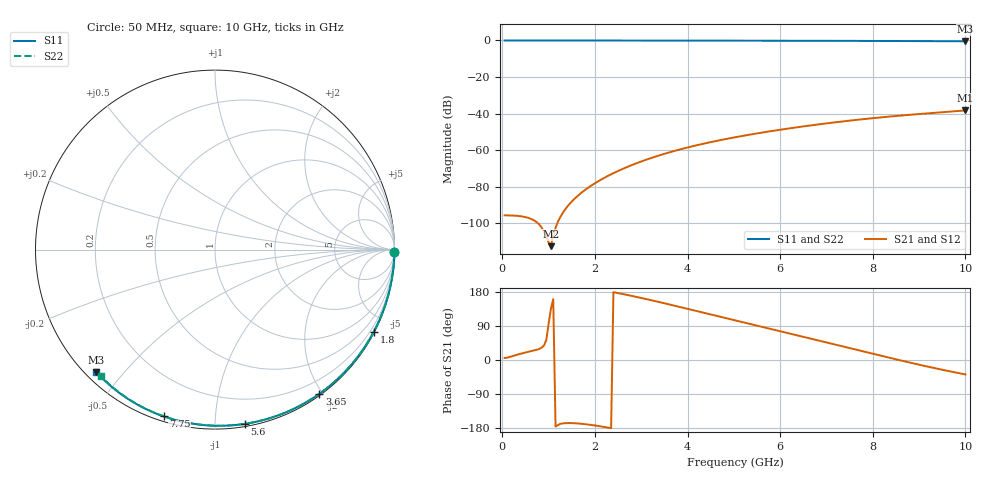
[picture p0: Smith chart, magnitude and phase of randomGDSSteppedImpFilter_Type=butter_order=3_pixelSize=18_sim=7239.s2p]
! freq	dB(S11)	phase(S11)	dB(S12)	phase(S12)
!  dB(S21)	phase(S21)	dB(S22)	phase(S22)
!S-par simulation data
#  GHz  S  DB  R 50
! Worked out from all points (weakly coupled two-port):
!   200 points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, 50 MHz to 10 GHz, reference 50 ohm
!   highest |S21| = -38.32 dB at 10 GHz (marker M1); lowest = -112.7 dB at 1.05 GHz (marker M2)
!   lowest |S11| = -0.4 dB at 10 GHz (marker M3), VSWR 38.93, Z = 1.51 - j21.1 ohm
!   |S11| at or under -10 dB: nowhere
!   |S22| runs from -0.4 to 0.0 dB; largest |S21 - S12| = 0
!   S11 on the Smith chart (normalised r, x): 50 MHz: open; 1.8 GHz: 0.04, -4.12; 3.65 GHz: 0.02, -1.96; 5.6 GHz: 0.02, -1.18; 7.75 GHz: 0.02, -0.74; 10 GHz: 0.03, -0.42
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0.05  -0.00 -0.8  -95.77 5.3  -95.77 5.3  -0.00 -0.8
0.55  -0.01 -8.5  -97.07 21.3  -97.07 21.3  -0.01 -8.4
1.05  -0.02 -16.1  -112.65 135.1  -112.65 135.1  -0.02 -15.9
1.75  -0.03 -26.6  -82.57 -168.8  -82.57 -168.8  -0.03 -26.4
1.8  -0.03 -27.3  -81.61 -169.5  -81.61 -169.5  -0.03 -27.1
1.9  -0.04 -28.8  -79.84 -171.1  -79.84 -171.1  -0.04 -28.6
2.05  -0.04 -31.0  -77.43 -173.7  -77.43 -173.7  -0.04 -30.8
2.25  -0.04 -34.0  -74.58 -177.8  -74.58 -177.8  -0.04 -33.7
2.45  -0.05 -36.9  -72.05 177.8  -72.05 177.8  -0.05 -36.6
2.65  -0.05 -39.8  -69.78 172.9  -69.78 172.9  -0.05 -39.5
3  -0.06 -44.9  -66.28 163.8  -66.28 163.8  -0.06 -44.5
3.4  -0.07 -50.6  -62.86 152.6  -62.86 152.6  -0.07 -50.2
3.65  -0.07 -54.1  -60.98 145.4  -60.98 145.4  -0.07 -53.7
4.3  -0.09 -63.1  -56.80 126.1  -56.80 126.1  -0.09 -62.6
5.05  -0.11 -73.2  -52.90 103.8  -52.90 103.8  -0.11 -72.6
5.6  -0.13 -80.4  -50.49 87.6  -50.49 87.6  -0.13 -79.8
6.15  -0.15 -87.4  -48.33 71.5  -48.33 71.5  -0.15 -86.7
6.7  -0.18 -94.3  -46.39 55.3  -46.39 55.3  -0.18 -93.6
7.75  -0.24 -107.2  -43.21 23.9  -43.21 23.9  -0.24 -106.2
8.35  -0.29 -114.3  -41.70 6.1  -41.70 6.1  -0.29 -113.3
9.15  -0.35 -123.9  -39.99 -16.5  -39.99 -16.5  -0.36 -122.5
10  -0.45 -134.1  -38.32 -38.0  -38.32 -38.0  -0.45 -132.2
